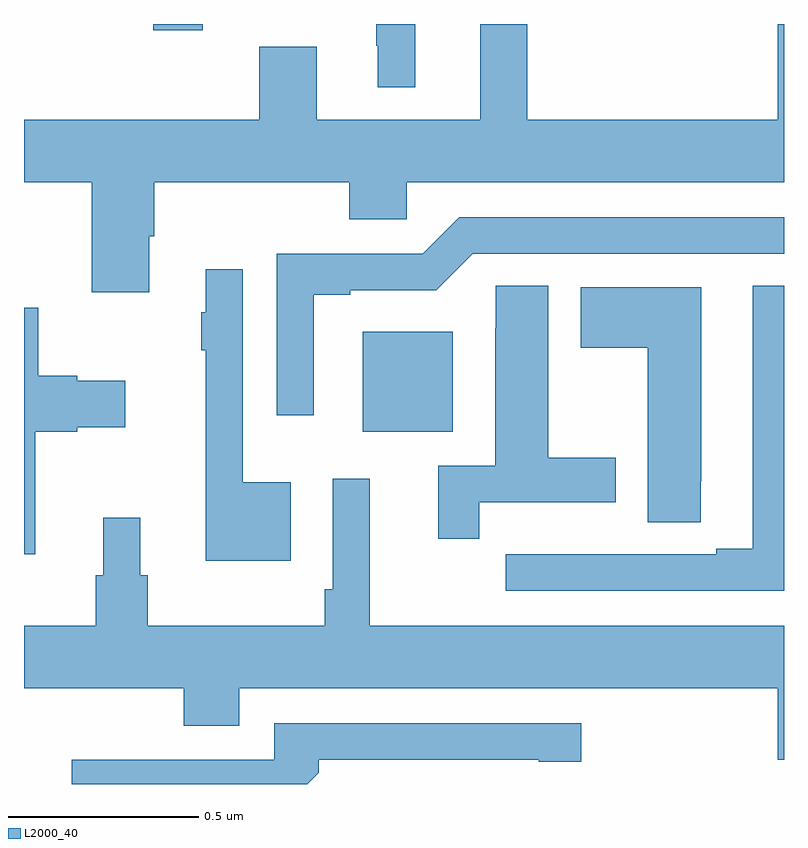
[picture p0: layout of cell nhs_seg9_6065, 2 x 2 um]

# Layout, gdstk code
import gdstk
lib = gdstk.Library(unit=1e-6, precision=1e-09)
def R(c, l, rs):  # rectangles x0, y0, x1, y1
    for r in rs: c.add(gdstk.rectangle(r[:2], r[2:], *l))
def P(c, l, *ps):  # polygons
    for p in ps: c.add(gdstk.Polygon(p, *l))
L2000_40 = (2000, 40)

nhs_seg9_6065 = lib.new_cell('nhs_seg9_6065')
R(nhs_seg9_6065, L2000_40, [(187.892,1198.427,188.128,1198.69), (187.34,1199.484,187.471,1199.5)])
P(nhs_seg9_6065, L2000_40, [(188.029,1199.5),(187.927,1199.5),(187.927,1199.443),(187.931,1199.443),(187.931,1199.333),(188.029,1199.333)],
  [(187.33,1198.942),(187.343,1198.942),(187.343,1199.084),(187.856,1199.084),(187.856,1198.986),(188.007,1198.986),(188.007,1199.084),(189,1199.084),(189,1199.5),(188.984,1199.5),(188.984,1199.248),(188.324,1199.248),(188.324,1199.5),(188.201,1199.5),(188.201,1199.248),(187.771,1199.248),(187.771,1199.44),(187.619,1199.44),(187.619,1199.248),(187,1199.248),(187,1199.084),(187.178,1199.084),(187.178,1198.794),(187.33,1198.794)],
  [(187.762,1198.788),(187.858,1198.788),(187.858,1198.8),(188.085,1198.8),(188.181,1198.896),(189,1198.896),(189,1198.992),(188.145,1198.992),(188.049,1198.896),(187.665,1198.896),(187.665,1198.47),(187.762,1198.47)],
  [(187.702,1198.294),(187.575,1198.294),(187.575,1198.855),(187.478,1198.855),(187.478,1198.742),(187.467,1198.742),(187.467,1198.642),(187.478,1198.642),(187.478,1198.088),(187.702,1198.088)],
  [(188.198,1198.242),(188.557,1198.242),(188.557,1198.359),(188.38,1198.359),(188.38,1198.811),(188.241,1198.811),(188.241,1198.7),(188.24,1198.7),(188.24,1198.338),(188.09,1198.338),(188.09,1198.146),(188.198,1198.146)],
  [(189,1198.811),(188.918,1198.811),(188.918,1198.119),(188.822,1198.119),(188.822,1198.104),(188.546,1198.104),(188.546,1198.105),(188.38,1198.105),(188.38,1198.104),(188.268,1198.104),(188.268,1198.008),(189,1198.008)],
  [(188.781,1198.297),(188.782,1198.297),(188.782,1198.807),(188.465,1198.807),(188.465,1198.648),(188.642,1198.648),(188.642,1198.189),(188.781,1198.189)],
  [(187.03,1198.427),(187.14,1198.427),(187.14,1198.439),(187.267,1198.439),(187.267,1198.561),(187.14,1198.561),(187.14,1198.574),(187.038,1198.574),(187.038,1198.753),(187,1198.753),(187,1198.104),(187.03,1198.104)],
  [(189,1197.916),(187.91,1197.916),(187.91,1198.303),(187.812,1198.303),(187.812,1198.012),(187.792,1198.012),(187.792,1197.916),(187.325,1197.916),(187.325,1198.05),(187.306,1198.05),(187.306,1198.201),(187.208,1198.201),(187.208,1198.05),(187.189,1198.05),(187.189,1197.916),(187,1197.916),(187,1197.752),(187.42,1197.752),(187.42,1197.653),(187.567,1197.653),(187.567,1197.752),(188.984,1197.752),(188.984,1197.564),(189,1197.564)],
  [(187.775,1197.53),(187.775,1197.564),(188.354,1197.564),(188.354,1197.559),(188.467,1197.559),(188.467,1197.66),(187.659,1197.66),(187.659,1197.564),(187.125,1197.564),(187.125,1197.5),(187.745,1197.5)])

lib.write_gds('nhs_seg9_6065.gds')
